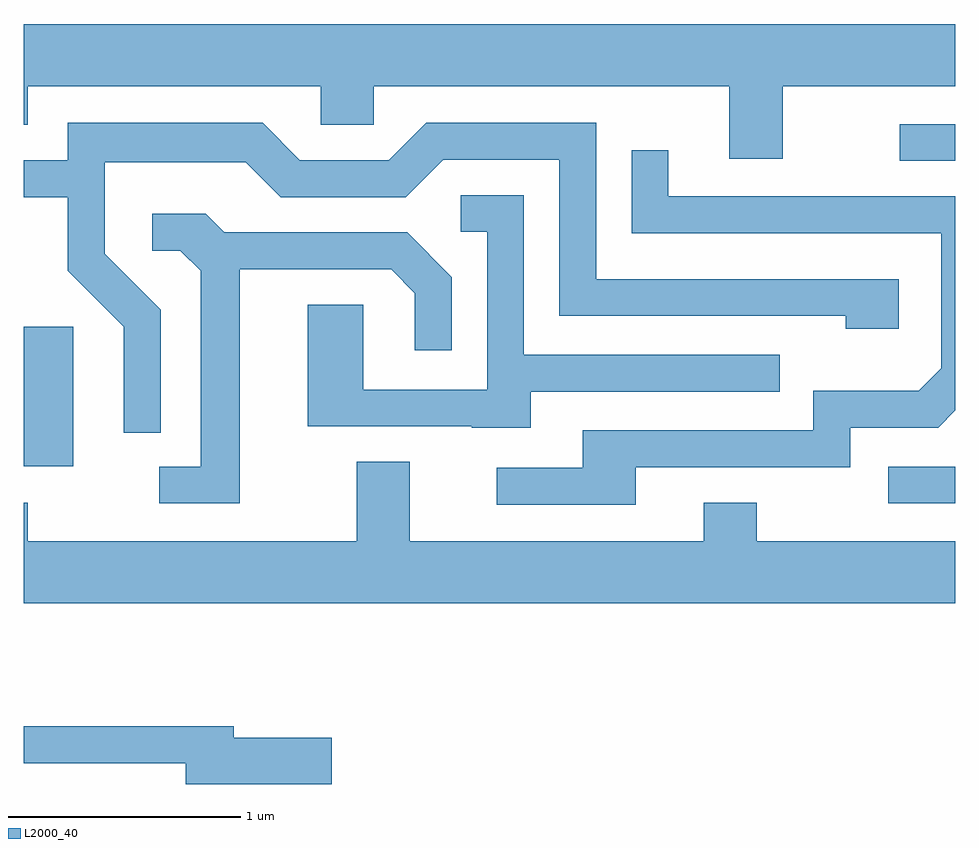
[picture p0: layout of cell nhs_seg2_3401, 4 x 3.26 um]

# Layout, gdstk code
import gdstk
lib = gdstk.Library(unit=1e-6, precision=1e-09)
def R(c, l, rs):  # rectangles x0, y0, x1, y1
    for r in rs: c.add(gdstk.rectangle(r[:2], r[2:], *l))
def P(c, l, *ps):  # polygons
    for p in ps: c.add(gdstk.Polygon(p, *l))
L2000_40 = (2000, 40)

nhs_seg2_3401 = lib.new_cell('nhs_seg2_3401')
R(nhs_seg2_3401, L2000_40, [(289.323,993.246,289.611,993.404), (285.611,993.406,285.824,994.004), (289.373,994.716,289.611,994.874)])
P(nhs_seg2_3401, L2000_40, [(288.869,995.036),(289.611,995.036),(289.611,995.304),(285.611,995.304),(285.611,994.871),(285.629,994.871),(285.629,995.036),(286.886,995.036),(286.886,994.871),(287.114,994.871),(287.114,995.036),(288.641,995.036),(288.641,994.726),(288.869,994.726)],
  [(286.199,994.077),(285.959,994.317),(285.959,994.711),(286.564,994.711),(286.714,994.561),(287.252,994.561),(287.412,994.721),(287.911,994.721),(287.911,994.051),(289.141,994.051),(289.141,993.996),(289.369,993.996),(289.369,994.209),(288.069,994.209),(288.069,994.879),(287.339,994.879),(287.179,994.719),(286.797,994.719),(286.637,994.879),(285.801,994.879),(285.801,994.719),(285.611,994.719),(285.611,994.561),(285.801,994.561),(285.801,994.244),(286.041,994.004),(286.041,993.548),(286.199,993.548)],
  [(288.239,993.401),(289.159,993.401),(289.159,993.571),(289.537,993.571),(289.611,993.645),(289.611,994.564),(288.379,994.564),(288.379,994.763),(288.221,994.763),(288.221,994.406),(289.551,994.406),(289.551,993.827),(289.454,993.729),(289.001,993.729),(289.001,993.559),(288.011,993.559),(288.011,993.399),(287.643,993.399),(287.643,993.241),(288.239,993.241)],
  [(287.789,993.726),(288.858,993.726),(288.858,993.884),(287.759,993.884),(287.759,994.569),(287.488,994.569),(287.488,994.411),(287.601,994.411),(287.601,993.734),(287.069,993.734),(287.069,994.099),(286.831,994.099),(286.831,993.576),(287.535,993.576),(287.535,993.571),(287.789,993.571)],
  [(286.539,994.251),(287.189,994.251),(287.291,994.149),(287.291,993.903),(287.449,993.903),(287.449,994.217),(287.257,994.409),(286.472,994.409),(286.392,994.489),(286.163,994.489),(286.163,994.331),(286.284,994.331),(286.371,994.244),(286.371,993.404),(286.193,993.404),(286.193,993.246),(286.539,993.246)],
  [(289.611,993.084),(288.759,993.084),(288.759,993.249),(288.531,993.249),(288.531,993.084),(287.269,993.084),(287.269,993.424),(287.041,993.424),(287.041,993.084),(285.629,993.084),(285.629,993.249),(285.611,993.249),(285.611,992.816),(289.611,992.816)],
  [(286.934,992.239),(286.514,992.239),(286.514,992.289),(285.611,992.289),(285.611,992.131),(286.306,992.131),(286.306,992.041),(286.934,992.041)])

lib.write_gds('nhs_seg2_3401.gds')
